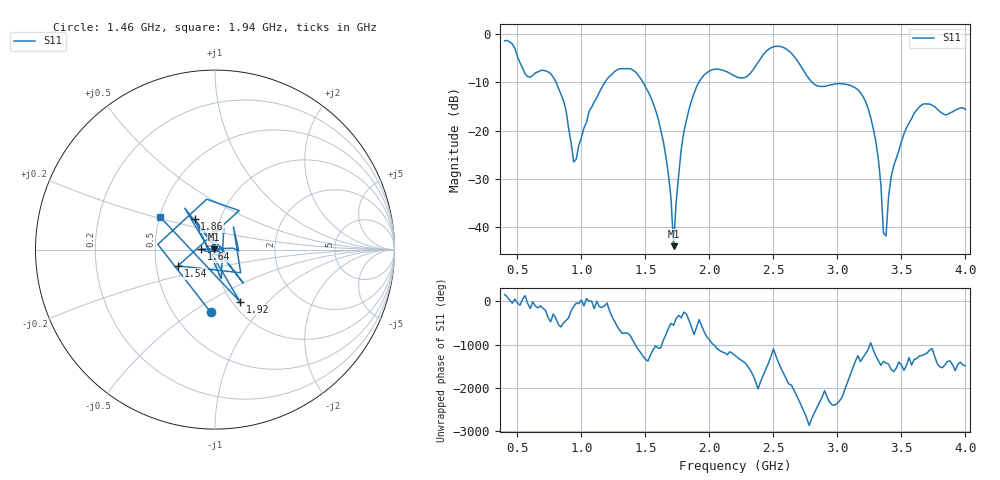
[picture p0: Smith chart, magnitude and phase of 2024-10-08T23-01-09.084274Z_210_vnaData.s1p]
! Created with skrf (http://scikit-rf.org).
# Hz S RI R 50.0
!freq ReS11 ImS11
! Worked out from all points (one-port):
!   181 points, 400 MHz to 4 GHz, reference 50 ohm
!   lowest |S11| = -44.0 dB at 1.72 GHz (marker M1), VSWR 1.01, Z = 49.4 + j0.151 ohm
!   |S11| at or under -10 dB: 803.1 MHz to 1.182 GHz (379.2 MHz wide, 38.2 % of centre); 1.482 GHz to 1.917 GHz (435.3 MHz wide, 25.6 % of centre); 2.804 GHz to end of sweep
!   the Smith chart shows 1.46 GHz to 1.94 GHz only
!   S11 on the Smith chart (normalised r, x): 1.46 GHz: 0.75, -0.60; 1.54 GHz: 0.65, -0.12; 1.64 GHz: 0.86, +0.00; 1.86 GHz: 0.76, +0.27; 1.92 GHz: 1.09, -0.70; 1.94 GHz: 0.51, +0.21
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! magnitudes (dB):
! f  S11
! 400 MHz  -1.4
! 760 MHz  -8.2
! 860 MHz  -13.8
! 940 MHz  -26.5
! 1.06 GHz  -16.0
! 1.3 GHz  -7.2
! 1.46 GHz  -9.1
! 1.54 GHz  -12.9
! 1.64 GHz  -22.2
! 1.7 GHz  -34.0
! 1.72 GHz  -44.0
! 1.76 GHz  -29.2
! 1.86 GHz  -13.8
! 1.92 GHz  -9.9
! 1.94 GHz  -9.0
! 2.2 GHz  -8.7
! 2.5 GHz  -2.6
! 2.66 GHz  -4.6
! 2.84 GHz  -10.7
! 3.1 GHz  -10.6
! 3.26 GHz  -17.3
! 3.32 GHz  -25.9
! 3.36 GHz  -41.2
! 3.38 GHz  -41.8
! 3.42 GHz  -29.6
! 3.56 GHz  -18.4
! 3.68 GHz  -14.4
! 4 GHz  -15.6
